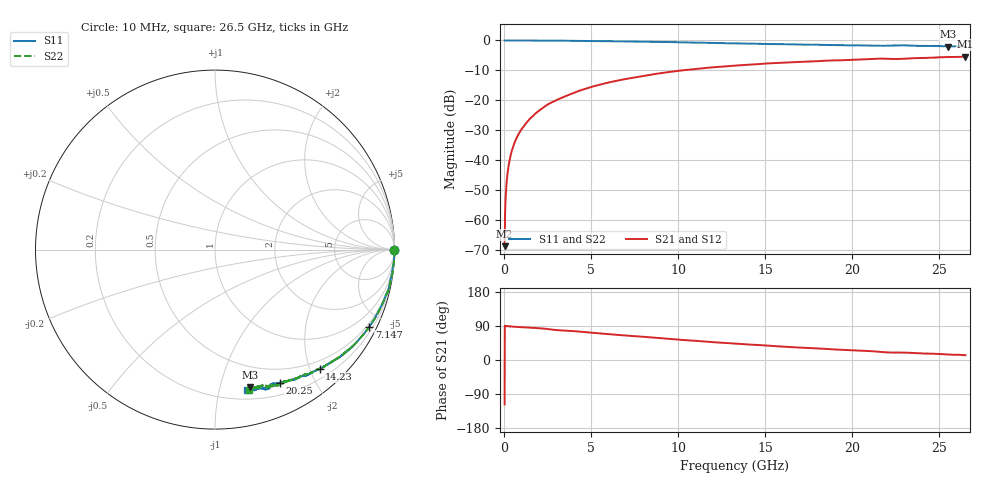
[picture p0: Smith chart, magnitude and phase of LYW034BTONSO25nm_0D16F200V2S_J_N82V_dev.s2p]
!Keysight Technologies,N5222B,MY61253708,A.15.00.15
!Date: Wednesday, June 19, 2024 09:26:53
!Correction: S11(C  2-Port  )
!S21(C  2-Port  )
!S12(C  2-Port  )
!S22(C  2-Port  )
!S2P File: Measurements: S11, S21, S12, S22:
# Hz S  RI  R 50
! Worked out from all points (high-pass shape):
!   2651 points, 10 MHz to 26.5 GHz, reference 50 ohm
!   highest |S21| = -5.38 dB at 26.5 GHz (marker M1); lowest = -68.8 dB at 10 MHz (marker M2)
!   |S21| within 3 dB of the highest: 13.31 GHz to 13.37 GHz (67.6 MHz wide, 0.507 % of centre); 13.38 GHz to end of sweep
!   lowest |S11| = -2.0 dB at 25.5 GHz (marker M3), VSWR 8.63, Z = 15 - j62 ohm
!   |S11| at or under -10 dB: nowhere
!   |S22| runs from -2.0 to 0.0 dB; largest |S21 - S12| = 0.007
!   S11 on the Smith chart (normalised r, x): 10 MHz: open; 7.147 GHz: 0.38, -4.22; 14.23 GHz: 0.35, -2.16; 20.25 GHz: 0.33, -1.54; 26.5 GHz: 0.28, -1.21
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1e7  0.9987 -0.00263  -0.000165 -0.000323  0.000182 0.000365  0.9984 -0.00126
7.997358e7  0.9998 -0.00579  1.47e-05 0.00268  2.35e-05 0.0027  0.9993 -0.00533
1.599434e8  0.9998 -0.0115  6.35e-05 0.00539  5.52e-05 0.00541  0.9995 -0.0109
2.099245e8  0.9997 -0.0145  0.000105 0.00705  0.000112 0.00711  0.9993 -0.0139
2.699019e8  0.9997 -0.0187  0.000152 0.00904  0.000121 0.00914  0.9997 -0.0181
3.698642e8  0.9996 -0.0258  0.000296 0.0124  0.000293 0.0125  0.9993 -0.025
4.998151e8  0.9989 -0.0342  0.000578 0.0167  0.000607 0.0169  0.9991 -0.0333
6.597547e8  0.9983 -0.0445  0.000913 0.0221  0.000945 0.0222  0.9984 -0.0438
8.49683e8  0.9979 -0.0573  0.00161 0.0283  0.00159 0.0285  0.9977 -0.0572
1.459453e9  0.9903 -0.0994  0.0038 0.0489  0.00381 0.0492  0.9927 -0.0959
2.339121e9  0.981 -0.1539  0.0104 0.0791  0.0106 0.0796  0.9821 -0.1547
3.208792e9  0.9694 -0.2099  0.0218 0.1052  0.0221 0.106  0.9691 -0.2097
4.428332e9  0.9409 -0.2831  0.0396 0.1432  0.0401 0.1441  0.942 -0.2812
7.147306e9  0.8599 -0.4287  0.1016 0.2083  0.1029 0.2092  0.8613 -0.4283
8.846664e9  0.7983 -0.5048  0.148 0.2378  0.1498 0.2386  0.7986 -0.5044
1.3255e10  0.6206 -0.6434  0.2762 0.2603  0.2788 0.2601  0.6224 -0.6427
1.423463e10  0.5826 -0.6648  0.3019 0.257  0.3042 0.2565  0.5858 -0.6622
1.767333e10  0.4479 -0.7205  0.3818 0.2309  0.3857 0.229  0.4561 -0.7183
2.025236e10  0.3595 -0.7449  0.4321 0.2028  0.4355 0.1999  0.3729 -0.7435
2.209166e10  0.3134 -0.7515  0.4633 0.1681  0.4654 0.1647  0.305 -0.7573
2.550038e10  0.1951 -0.768  0.5114 0.1311  0.5132 0.1304  0.2133 -0.7704
2.65e10  0.1761 -0.7825  0.5248 0.12  0.5245 0.1157  0.187 -0.7801
